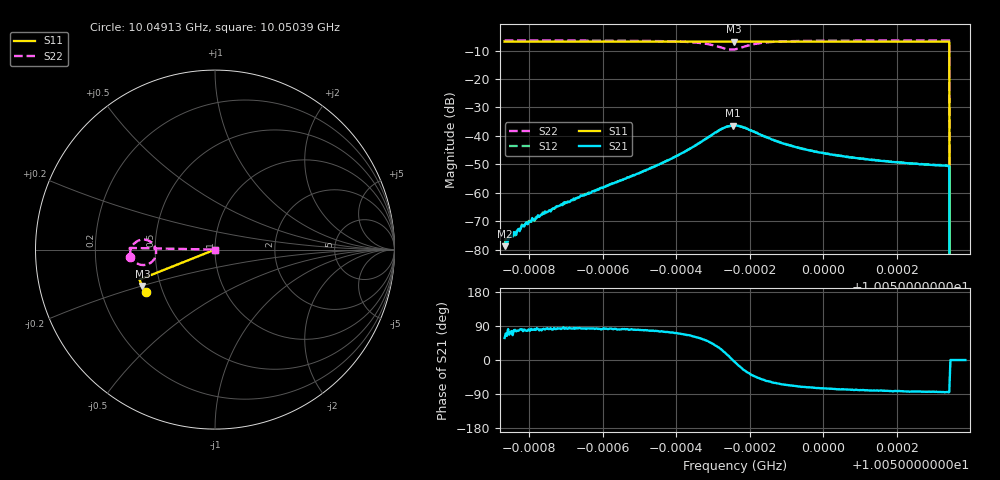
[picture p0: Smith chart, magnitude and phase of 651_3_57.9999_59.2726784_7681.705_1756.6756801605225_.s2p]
#  HZ  S  RI  R  50.00
! Rohde & Schwarz Vector Network Analyzer
! Rohde-Schwarz,ZNB20-2Port,1311601062101988,3.16
! Created: UTC 3/21/2024, 1:19:28 AM
! freq[Hz]  re:S11  im:S11  re:S21  im:S21  re:S12  im:S12  re:S22  im:S22
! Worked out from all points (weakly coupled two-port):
!   401 points, 10.04913 GHz to 10.05039 GHz, reference 50 ohm
!   highest |S21| = -36.35 dB at 10.04975 GHz (marker M1); lowest = -78.8 dB at 10.04913 GHz (marker M2)
!   lowest |S11| = -6.9 dB at 10.04976 GHz (marker M3), VSWR 2.65, Z = 19.8 - j10 ohm
!   |S11| at or under -10 dB: 10.05034 GHz to end of sweep
!   |S22| runs from - to -6.5 dB; largest |S21 - S12| = 0.0013
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1.0049133e10  -0.387 -0.2387  6.09e-05 9.8e-05  4.53e-05 0.000111  -0.4737 -0.0391
1.0049152e10  -0.3875 -0.2376  4.07e-05 0.000169  2.64e-05 0.000168  -0.4736 -0.0375
1.0049171e10  -0.3882 -0.2364  5.11e-05 0.000226  1.12e-05 0.000205  -0.4738 -0.0358
1.0049186e10  -0.3888 -0.2355  4.16e-05 0.000252  3.84e-05 0.000266  -0.4738 -0.0343
1.0049243e10  -0.3906 -0.2322  7.72e-05 0.000464  6.56e-05 0.000432  -0.4737 -0.0289
1.0049343e10  -0.3938 -0.2265  0.000107 0.000876  7.27e-05 0.00087  -0.4728 -0.0182
1.0049553e10  -0.4002 -0.2139  0.00077 0.00303  0.000597 0.00309  -0.4635 0.0155
1.0049625e10  -0.4023 -0.2094  0.0021 0.00495  0.0018 0.00508  -0.4477 0.0365
1.00497e10  -0.4036 -0.2048  0.00798 0.00725  0.00744 0.00772  -0.3881 0.0552
1.0049732e10  -0.4039 -0.203  0.0131 0.00489  0.0128 0.0057  -0.3417 0.027
1.0049754e10  -0.4043 -0.2021  0.0152 -1.87e-05  0.0151 0.00111  -0.328 -0.0202
1.0049757e10  -0.4043 -0.2019  0.0152 -0.000724  0.0153 0.000429  -0.3289 -0.0276
1.004976e10  -0.4045 -0.202  0.0151 -0.00153  0.0153 -0.000416  -0.3306 -0.0344
1.0049794e10  -0.4057 -0.2005  0.0111 -0.00732  0.0116 -0.0064  -0.377 -0.0825
1.0049838e10  -0.4074 -0.1981  0.00605 -0.00785  0.00661 -0.00743  -0.4281 -0.0798
1.0049901e10  -0.4094 -0.1942  0.00285 -0.00641  0.0033 -0.00627  -0.4566 -0.0573
1.004997e10  -0.4114 -0.19  0.00162 -0.0052  0.00193 -0.00511  -0.4672 -0.0391
1.0050067e10  -0.414 -0.1842  0.00089 -0.00416  0.00115 -0.00414  -0.4726 -0.0216
1.005018e10  -0.4167 -0.1773  0.000497 -0.00347  0.000716 -0.0035  -0.4745 -0.00707
1.0050336e10  -0.4205 -0.1675  0.000291 -0.00297  0.000454 -0.00296  -0.4755 0.00857
1.0050352e10  0 0  0 0  0 0  0 0
1.0050386e10  0 0  0 0  0 0  0 0
